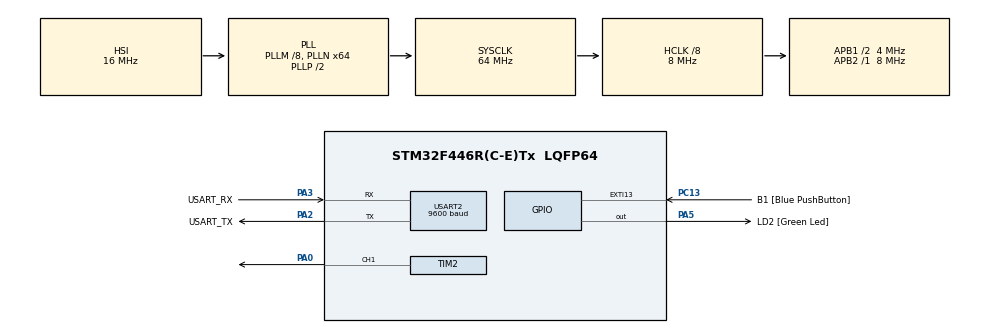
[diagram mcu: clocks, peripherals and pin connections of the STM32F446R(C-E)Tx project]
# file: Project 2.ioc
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FREERTOS.Tasks01=blink01,24,128,StartBlink01,Default,NULL,Dynamic,NULL,NULL;blink02,16,128,StartBlink02,Default,NULL,Dynamic,NULL,NULL
Mcu.Family=STM32F4
Mcu.Name=STM32F446R(C-E)Tx
Mcu.Package=LQFP64
NVIC.PriorityGroup=NVIC_PRIORITYGROUP_4
NVIC.TIM6_DAC_IRQn=true\:15\:0\:false\:false\:true\:false\:false\:true
NVIC.TimeBase=TIM6_DAC_IRQn
NVIC.TimeBaseIP=TIM6
NVIC.USART2_IRQn=true\:5\:0\:false\:false\:true\:true\:true\:true
PA0-WKUP.Signal=S_TIM2_CH1_ETR
PA13.GPIO_Label=TMS
PA13.Mode=Serial_Wire
PA13.Signal=SYS_JTMS-SWDIO
PA14.GPIO_Label=TCK
PA14.Mode=Serial_Wire
PA14.Signal=SYS_JTCK-SWCLK
PA2.GPIO_Label=USART_TX
PA2.Mode=Asynchronous
PA2.Signal=USART2_TX
PA3.GPIO_Label=USART_RX
PA3.Mode=Asynchronous
PA3.Signal=USART2_RX
PA5.GPIO_Label=LD2 [Green Led]
PA5.Signal=GPIO_Output
PB3.GPIO_Label=SWO
PB3.Signal=SYS_JTDO-SWO
PC13.GPIO_Label=B1 [Blue PushButton]
PC13.GPIO_ModeDefaultEXTI=GPIO_MODE_IT_FALLING
PC13.Signal=GPXTI13
PC14-OSC32_IN.Mode=LSE-External-Oscillator
PC14-OSC32_IN.Signal=RCC_OSC32_IN
PC15-OSC32_OUT.Mode=LSE-External-Oscillator
PC15-OSC32_OUT.Signal=RCC_OSC32_OUT
PH0-OSC_IN.Mode=HSE-External-Oscillator
PH0-OSC_IN.Signal=RCC_OSC_IN
PH1-OSC_OUT.Mode=HSE-External-Oscillator
PH1-OSC_OUT.Signal=RCC_OSC_OUT
ProjectManager.HeapSize=0x200
ProjectManager.StackSize=0x400
ProjectManager.TargetToolchain=STM32CubeIDE
RCC.48MHZClocksFreq_Value=84000000
RCC.AHBCLKDivider=RCC_SYSCLK_DIV8
RCC.AHBFreq_Value=8000000
RCC.APB1CLKDivider=RCC_HCLK_DIV2
RCC.APB1Freq_Value=4000000
RCC.APB1TimFreq_Value=8000000
RCC.APB2Freq_Value=8000000
RCC.APB2TimFreq_Value=8000000
RCC.CortexFreq_Value=8000000
RCC.FLatency-AdvancedSettings=FLASH_LATENCY_0
RCC.HCLKFreq_Value=8000000
RCC.HSE_VALUE=8000000
RCC.HSI_VALUE=16000000
RCC.PLLM=8
RCC.PLLN=64
RCC.SYSCLKFreq_VALUE=64000000
RCC.SYSCLKSource=RCC_SYSCLKSOURCE_PLLCLK
RCC.USBFreq_Value=64000000
RCC.VCOOutputFreq_Value=128000000
SH.S_TIM2_CH1_ETR.0=TIM2_CH1,PWM Generation1 CH1
TIM2.AutoReloadPreload=TIM_AUTORELOAD_PRELOAD_DISABLE
TIM2.Channel-PWM\ Generation1\ CH1=TIM_CHANNEL_1
TIM2.Period=625
TIM2.Prescaler=127
TIM2.Pulse-PWM\ Generation1\ CH1=500
USART2.BaudRate=9600
USART2.VirtualMode=VM_ASYNC
VP_FREERTOS_VS_CMSIS_V2.Mode=CMSIS_V2
VP_SYS_VS_tim6.Mode=TIM6
VP_TIM2_VS_ClockSourceINT.Mode=Internal
board=NUCLEO-F446RE

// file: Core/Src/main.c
/* USER CODE BEGIN Header */
/**
  ******************************************************************************
  * @file           : main.c
  * @brief          : Main program body
  ******************************************************************************
  * @attention
  *
  * <h2><center>&copy; Copyright (c) 2022 STMicroelectronics.
  * All rights reserved.</center></h2>
  *
  * This software component is licensed by ST under BSD 3-Clause license,
  * the "License"; You may not use this file except in compliance with the
  * License. You may obtain a copy of the License at:
  *                        opensource.org/licenses/BSD-3-Clause
  *
  ******************************************************************************
  */
/* USER CODE END Header */
#include "main.h"
#include "cmsis_os.h"

TIM_HandleTypeDef htim2;

UART_HandleTypeDef huart2;

/* Definitions for blink01 */
osThreadId_t blink01Handle;
const osThreadAttr_t blink01_attributes = {
  .name = "blink01",
  .stack_size = 128 * 4,
  .priority = (osPriority_t) osPriorityNormal,
};
/* Definitions for blink02 */
osThreadId_t blink02Handle;
const osThreadAttr_t blink02_attributes = {
  .name = "blink02",
  .stack_size = 128 * 4,
  .priority = (osPriority_t) osPriorityBelowNormal,
};
/* USER CODE BEGIN PV */
int scale = 0;
uint8_t on[10] = "3.3 V\r\n";
uint8_t off[10] = "0 V\r\n";
/* USER CODE END PV */

void SystemClock_Config(void);
static void MX_GPIO_Init(void);
static void MX_USART2_UART_Init(void);
static void MX_TIM2_Init(void);
void StartBlink01(void *argument);
void StartBlink02(void *argument);

int main(void)
{

  /* MCU Configuration--------------------------------------------------------*/

  /* Reset of all peripherals, Initializes the Flash interface and the Systick. */
  HAL_Init();

  /* Configure the system clock */
  SystemClock_Config();

  /* Initialize all configured peripherals */
  MX_GPIO_Init();
  MX_USART2_UART_Init();
  MX_TIM2_Init();
  /* USER CODE BEGIN 2 */
  HAL_TIM_PWM_Start(&htim2, TIM_CHANNEL_1);
  /* USER CODE END 2 */

  /* Init scheduler */
  osKernelInitialize();

  /* Create the thread(s) */
  /* creation of blink01 */
  blink01Handle = osThreadNew(StartBlink01, NULL, &blink01_attributes);

  /* creation of blink02 */
  blink02Handle = osThreadNew(StartBlink02, NULL, &blink02_attributes);

  /* Start scheduler */
  osKernelStart();

  /* We should never get here as control is now taken by the scheduler */
  /* Infinite loop */
  while (1)
  {

  }
}

void SystemClock_Config(void)
{
  RCC_OscInitTypeDef RCC_OscInitStruct = {0};
  RCC_ClkInitTypeDef RCC_ClkInitStruct = {0};

  /** Configure the main internal regulator output voltage
  */
  __HAL_RCC_PWR_CLK_ENABLE();
  __HAL_PWR_VOLTAGESCALING_CONFIG(PWR_REGULATOR_VOLTAGE_SCALE3);
  /** Initializes the RCC Oscillators according to the specified parameters
  * in the RCC_OscInitTypeDef structure.
  */
  RCC_OscInitStruct.OscillatorType = RCC_OSCILLATORTYPE_HSI;
  RCC_OscInitStruct.HSIState = RCC_HSI_ON;
  RCC_OscInitStruct.HSICalibrationValue = RCC_HSICALIBRATION_DEFAULT;
  RCC_OscInitStruct.PLL.PLLState = RCC_PLL_ON;
  RCC_OscInitStruct.PLL.PLLSource = RCC_PLLSOURCE_HSI;
  RCC_OscInitStruct.PLL.PLLM = 8;
  RCC_OscInitStruct.PLL.PLLN = 64;
  RCC_OscInitStruct.PLL.PLLP = RCC_PLLP_DIV2;
  RCC_OscInitStruct.PLL.PLLQ = 2;
  RCC_OscInitStruct.PLL.PLLR = 2;
  if (HAL_RCC_OscConfig(&RCC_OscInitStruct) != HAL_OK)
  {
    Error_Handler();
  }
  /** Initializes the CPU, AHB and APB buses clocks
  */
  RCC_ClkInitStruct.ClockType = RCC_CLOCKTYPE_HCLK|RCC_CLOCKTYPE_SYSCLK
                              |RCC_CLOCKTYPE_PCLK1|RCC_CLOCKTYPE_PCLK2;
  RCC_ClkInitStruct.SYSCLKSource = RCC_SYSCLKSOURCE_PLLCLK;
  RCC_ClkInitStruct.AHBCLKDivider = RCC_SYSCLK_DIV8;
  RCC_ClkInitStruct.APB1CLKDivider = RCC_HCLK_DIV2;
  RCC_ClkInitStruct.APB2CLKDivider = RCC_HCLK_DIV1;

  if (HAL_RCC_ClockConfig(&RCC_ClkInitStruct, FLASH_LATENCY_0) != HAL_OK)
  {
    Error_Handler();
  }
}

static void MX_TIM2_Init(void)
{

  TIM_ClockConfigTypeDef sClockSourceConfig = {0};
  TIM_MasterConfigTypeDef sMasterConfig = {0};
  TIM_OC_InitTypeDef sConfigOC = {0};

  htim2.Instance = TIM2;
  htim2.Init.Prescaler = 127;
  htim2.Init.CounterMode = TIM_COUNTERMODE_UP;
  htim2.Init.Period = 625;
  htim2.Init.ClockDivision = TIM_CLOCKDIVISION_DIV1;
  htim2.Init.AutoReloadPreload = TIM_AUTORELOAD_PRELOAD_DISABLE;
  if (HAL_TIM_Base_Init(&htim2) != HAL_OK)
  {
    Error_Handler();
  }
  sClockSourceConfig.ClockSource = TIM_CLOCKSOURCE_INTERNAL;
  if (HAL_TIM_ConfigClockSource(&htim2, &sClockSourceConfig) != HAL_OK)
  {
    Error_Handler();
  }
  if (HAL_TIM_PWM_Init(&htim2) != HAL_OK)
  {
    Error_Handler();
  }
  sMasterConfig.MasterOutputTrigger = TIM_TRGO_RESET;
  sMasterConfig.MasterSlaveMode = TIM_MASTERSLAVEMODE_DISABLE;
  if (HAL_TIMEx_MasterConfigSynchronization(&htim2, &sMasterConfig) != HAL_OK)
  {
    Error_Handler();
  }
  sConfigOC.OCMode = TIM_OCMODE_PWM1;
  sConfigOC.Pulse = 500;
  sConfigOC.OCPolarity = TIM_OCPOLARITY_HIGH;
  sConfigOC.OCFastMode = TIM_OCFAST_DISABLE;
  if (HAL_TIM_PWM_ConfigChannel(&htim2, &sConfigOC, TIM_CHANNEL_1) != HAL_OK)
  {
    Error_Handler();
  }
  HAL_TIM_MspPostInit(&htim2);

}

static void MX_USART2_UART_Init(void)
{

  huart2.Instance = USART2;
  huart2.Init.BaudRate = 9600;
  huart2.Init.WordLength = UART_WORDLENGTH_8B;
  huart2.Init.StopBits = UART_STOPBITS_1;
  huart2.Init.Parity = UART_PARITY_NONE;
  huart2.Init.Mode = UART_MODE_TX_RX;
  huart2.Init.HwFlowCtl = UART_HWCONTROL_NONE;
  huart2.Init.OverSampling = UART_OVERSAMPLING_16;
  if (HAL_UART_Init(&huart2) != HAL_OK)
  {
    Error_Handler();
  }

}

static void MX_GPIO_Init(void)
{
  GPIO_InitTypeDef GPIO_InitStruct = {0};

  /* GPIO Ports Clock Enable */
  __HAL_RCC_GPIOC_CLK_ENABLE();
  __HAL_RCC_GPIOH_CLK_ENABLE();
  __HAL_RCC_GPIOA_CLK_ENABLE();
  __HAL_RCC_GPIOB_CLK_ENABLE();

  /*Configure GPIO pin Output Level */
  HAL_GPIO_WritePin(LD2_GPIO_Port, LD2_Pin, GPIO_PIN_RESET);

  /*Configure GPIO pin : B1_Pin */
  GPIO_InitStruct.Pin = B1_Pin;
  GPIO_InitStruct.Mode = GPIO_MODE_IT_FALLING;
  GPIO_InitStruct.Pull = GPIO_NOPULL;
  HAL_GPIO_Init(B1_GPIO_Port, &GPIO_InitStruct);

  /*Configure GPIO pin : LD2_Pin */
  GPIO_InitStruct.Pin = LD2_Pin;
  GPIO_InitStruct.Mode = GPIO_MODE_OUTPUT_PP;
  GPIO_InitStruct.Pull = GPIO_NOPULL;
  GPIO_InitStruct.Speed = GPIO_SPEED_FREQ_LOW;
  HAL_GPIO_Init(LD2_GPIO_Port, &GPIO_InitStruct);

}

void StartBlink01(void *argument)
{
  /* USER CODE BEGIN 5 */
  /* Infinite loop */
  for(;;)
  {
    /* USER CODE END WHILE */
	while(scale < 625)
	{
	  scale += 1;
	  __HAL_TIM_SET_COMPARE(&htim2,TIM_CHANNEL_1, scale);
	  HAL_Delay(1);
	}
	HAL_UART_Transmit(&huart2, on, 10, 10);
    osDelay(1300);
  }
  /* USER CODE END 5 */
}

void StartBlink02(void *argument)
{
  /* USER CODE BEGIN StartBlink02 */
  /* Infinite loop */
  for(;;)
  {
	while(scale > 0)
	{
	  scale -= 1;
	  __HAL_TIM_SET_COMPARE(&htim2,TIM_CHANNEL_1, scale);
	  HAL_Delay(1);
	}
	HAL_UART_Transmit(&huart2, off, 10, 10);
	osDelay(1300);
  }
  /* USER CODE END StartBlink02 */
}

void HAL_TIM_PeriodElapsedCallback(TIM_HandleTypeDef *htim)
{
  if (htim->Instance == TIM6) {
    HAL_IncTick();
  }
}

void Error_Handler(void)
{
  __disable_irq();
  while (1)
  {
  }
}

/************************ (C) COPYRIGHT STMicroelectronics *****END OF FILE****/
